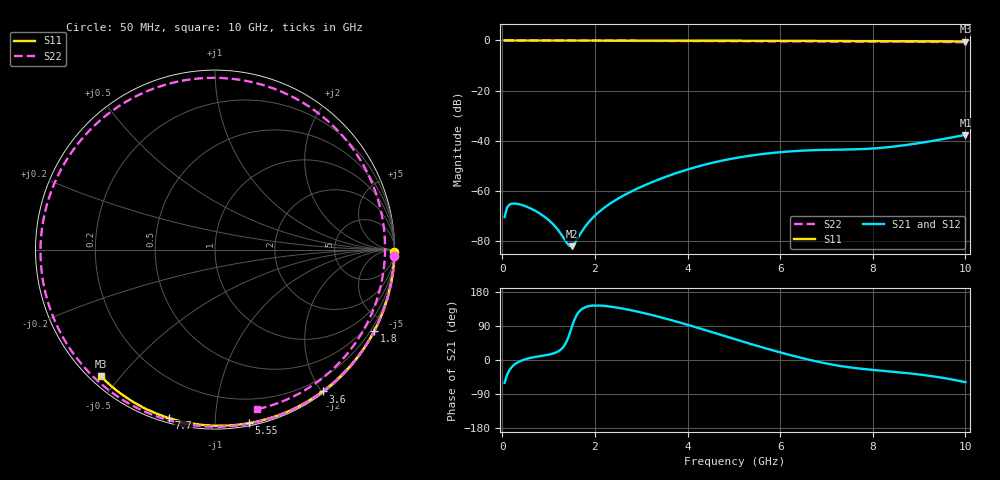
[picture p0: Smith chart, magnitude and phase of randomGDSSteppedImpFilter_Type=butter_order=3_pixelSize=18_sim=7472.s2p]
! freq	dB(S11)	phase(S11)	dB(S12)	phase(S12)
!  dB(S21)	phase(S21)	dB(S22)	phase(S22)
!S-par simulation data
#  GHz  S  DB  R 50
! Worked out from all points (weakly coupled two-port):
!   200 points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, 50 MHz to 10 GHz, reference 50 ohm
!   highest |S21| = -37.73 dB at 10 GHz (marker M1); lowest = -82.2 dB at 1.5 GHz (marker M2)
!   lowest |S11| = -0.4 dB at 10 GHz (marker M3), VSWR 39.07, Z = 1.53 - j22.3 ohm
!   |S11| at or under -10 dB: nowhere
!   |S22| runs from -0.7 to 0.0 dB; largest |S21 - S12| = 0
!   S11 on the Smith chart (normalised r, x): 50 MHz: open; 1.8 GHz: 0.04, -4.16; 3.6 GHz: 0.02, -2.01; 5.55 GHz: 0.02, -1.22; 7.7 GHz: 0.02, -0.76; 10 GHz: 0.03, -0.45
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0.05  -0.00 -0.8  -70.55 -60.2  -70.55 -60.2  -0.00 -2.1
0.15  -0.00 -2.3  -65.65 -27.4  -65.65 -27.4  -0.00 -6.4
0.45  -0.01 -6.9  -65.87 0.1  -65.87 0.1  -0.02 -19.0
1  -0.02 -15.1  -71.73 14.1  -71.73 14.1  -0.05 -41.9
1.35  -0.03 -20.4  -79.66 40.0  -79.66 40.0  -0.07 -56.3
1.5  -0.03 -22.6  -82.18 86.6  -82.18 86.6  -0.08 -62.4
1.6  -0.03 -24.1  -79.94 117.3  -79.94 117.3  -0.08 -66.4
1.75  -0.03 -26.3  -75.41 136.9  -75.41 136.9  -0.09 -72.5
1.8  -0.03 -27.0  -74.12 139.7  -74.12 139.7  -0.09 -74.5
2.4  -0.05 -35.8  -64.30 139.8  -64.30 139.8  -0.12 -98.3
3.4  -0.07 -50.0  -55.37 113.4  -55.37 113.4  -0.18 -137.6
3.6  -0.07 -52.8  -54.00 106.9  -54.00 106.9  -0.19 -145.5
4.35  -0.09 -63.1  -49.72 80.1  -49.72 80.1  -0.24 -175.9
5.05  -0.11 -72.4  -46.92 53.8  -46.92 53.8  -0.29 154.1
5.55  -0.13 -78.9  -45.53 35.6  -45.53 35.6  -0.33 131.3
6.15  -0.15 -86.5  -44.41 15.2  -44.41 15.2  -0.37 102.5
6.7  -0.18 -93.3  -43.83 -1.5  -43.83 -1.5  -0.40 75.0
7.15  -0.21 -98.8  -43.64 -12.7  -43.64 -12.7  -0.42 52.1
7.7  -0.24 -105.4  -43.44 -22.4  -43.44 -22.4  -0.44 24.6
8.35  -0.29 -113.0  -42.60 -29.9  -42.60 -29.9  -0.48 -6.3
9.2  -0.36 -122.8  -40.40 -41.3  -40.40 -41.3  -0.57 -43.4
10  -0.44 -132.0  -37.73 -58.5  -37.73 -58.5  -0.73 -75.2
